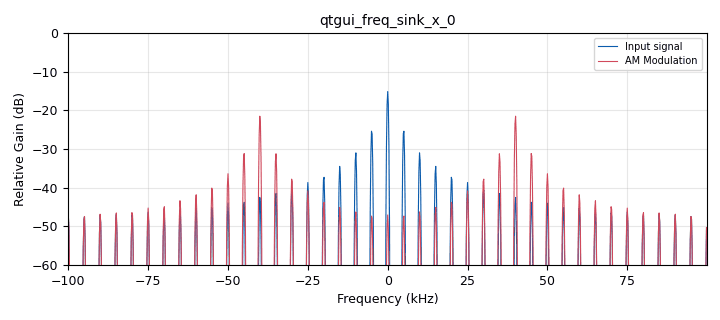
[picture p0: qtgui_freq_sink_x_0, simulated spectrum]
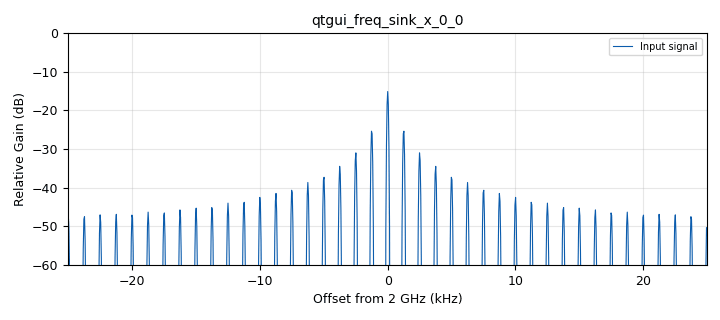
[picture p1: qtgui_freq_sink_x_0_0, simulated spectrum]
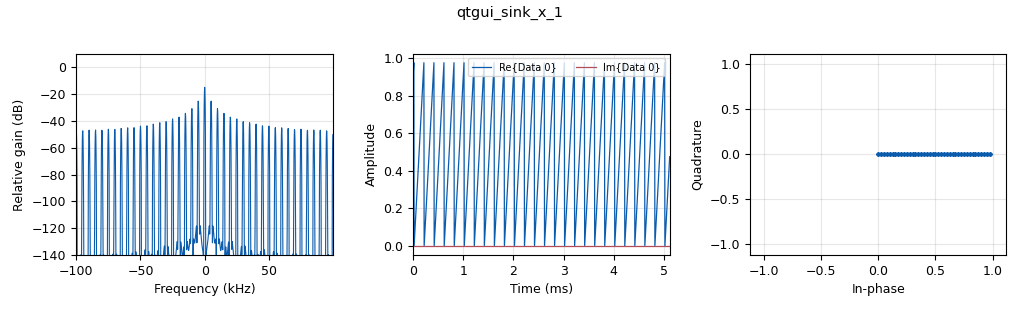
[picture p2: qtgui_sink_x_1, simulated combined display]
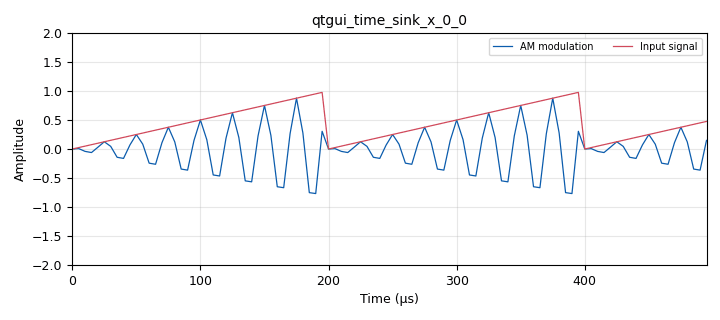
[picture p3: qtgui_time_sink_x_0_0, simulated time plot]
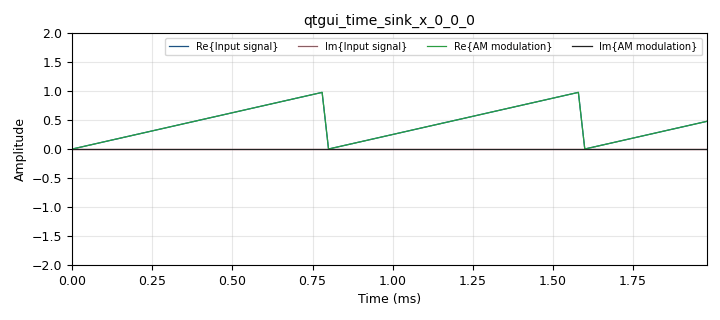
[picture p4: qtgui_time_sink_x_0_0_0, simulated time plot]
options:
  parameters:
    author: C. Seguinot
    category: Custom
    copyright: GNU GPL V3
    description: 'IQ tutorial : simple AM modulation using real blocks'
    generate_options: qt_gui
    id: IQ_tutorial_AM_TX_real
    output_language: python
    title: Amplitude modulation
  states: {}

blocks:
- name: fp
  id: variable_qtgui_range
  parameters:
    gui_hint: 1,0,1,1
    label: Carrier Frequency F0
    start: '20000'
    step: '1'
    stop: '80000'
    value: '40000'
  states: {}
- name: fp_complex
  id: variable_qtgui_range
  parameters:
    gui_hint: 1,1,1,1
    label: Carrier Frequency F0 (complex)
    start: 1e6
    step: 0.1e9
    stop: 10e9
    value: 2e9
  states: {}
- name: input_rate
  id: variable
  parameters:
    value: '5000'
  states: {}
- name: oversampling
  id: variable
  parameters:
    value: '40'
  states: {}
- name: oversampling_complex
  id: variable
  parameters:
    value: '10'
  states: {}
- name: samp_rate
  id: variable
  parameters:
    value: input_rate*oversampling
  states: {}
- name: samp_rate_complex
  id: variable
  parameters:
    value: input_rate*oversampling_complex
  states: {}
- name: analog_const_source_x_0
  id: analog_const_source_x
  parameters:
    comment: carrier (Eq. BB =1)
    const: '1'
    type: complex
  states: {}
- name: analog_const_source_x_0_0
  id: analog_const_source_x
  parameters:
    comment: q(t)=0
    const: '0'
    type: float
  states: {}
- name: analog_sig_source_x_0
  id: analog_sig_source_x
  parameters:
    amp: '1'
    freq: input_rate
    offset: '0'
    phase: '0'
    samp_rate: samp_rate
    type: float
    waveform: analog.GR_SAW_WAVE
  states: {}
- name: analog_sig_source_x_0_0
  id: analog_sig_source_x
  parameters:
    amp: '1'
    comment: i(t)
    freq: input_rate
    offset: '0'
    phase: '0'
    samp_rate: samp_rate
    type: float
    waveform: analog.GR_SAW_WAVE
  states: {}
- name: analog_sig_source_x_1_1
  id: analog_sig_source_x
  parameters:
    amp: '1'
    comment: Carrier
    freq: fp
    offset: '0'
    phase: '0'
    samp_rate: samp_rate
    type: float
    waveform: analog.GR_COS_WAVE
  states: {}
- name: analog_sig_source_x_1_1_0
  id: analog_sig_source_x
  parameters:
    amp: '1'
    comment: Carrier
    freq: '0'
    offset: '0'
    phase: '0'
    samp_rate: samp_rate
    type: complex
    waveform: analog.GR_COS_WAVE
  states: {state: disabled}
- name: blocks_float_to_complex_0
  id: blocks_float_to_complex
  parameters: {}
  states: {}
- name: blocks_multiply_xx_2
  id: blocks_multiply_xx
  parameters:
    comment: AM Modulator
    type: float
  states: {}
- name: blocks_multiply_xx_2_0
  id: blocks_multiply_xx
  parameters:
    comment: AM Modulator
    type: complex
  states: {}
- name: blocks_throttle_0
  id: blocks_throttle
  parameters:
    samples_per_second: samp_rate_complex
    type: complex
  states: {}
- name: blocks_throttle_1
  id: blocks_throttle
  parameters:
    samples_per_second: samp_rate
    type: float
  states: {}
- name: qtgui_freq_sink_x_0
  id: qtgui_freq_sink_x
  parameters:
    bw: samp_rate
    fc: '0'
    fftsize: '1024'
    gui_hint: 0,0,1,1
    label1: Input signal
    label2: AM Modulation
    nconnections: '2'
    type: float
    ymax: '0'
    ymin: '-60'
  states: {}
- name: qtgui_freq_sink_x_0_0
  id: qtgui_freq_sink_x
  parameters:
    bw: samp_rate_complex
    fc: fp_complex
    fftsize: '1024'
    gui_hint: 2,0,1,1
    label1: Input signal
    type: complex
    ymax: '0'
    ymin: '-60'
  states: {}
- name: qtgui_sink_x_1
  id: qtgui_sink_x
  parameters:
    bw: samp_rate
    fc: '0'
    fftsize: '1024'
    type: complex
  states: {}
- name: qtgui_time_sink_x_0_0
  id: qtgui_time_sink_x
  parameters:
    color1: red
    color2: blue
    ctrlpanel: 'True'
    grid: 'True'
    gui_hint: 0,1,1,1
    label1: AM modulation
    label2: Input signal
    name: ''
    nconnections: '2'
    size: '100'
    srate: samp_rate
    tr_level: '0.5'
    type: float
    update_time: '0.30'
    ymax: '2'
    ymin: '-2'
  states: {}
- name: qtgui_time_sink_x_0_0_0
  id: qtgui_time_sink_x
  parameters:
    color2: blue
    color3: red
    ctrlpanel: 'True'
    grid: 'True'
    gui_hint: 2,1,1,1
    label1: Re{Input signal}
    label2: Im{Input signal}
    label3: Re{AM modulation}
    label4: Im{AM modulation}
    name: ''
    nconnections: '2'
    size: '100'
    srate: samp_rate_complex
    tr_level: '0.5'
    type: complex
    update_time: '0.30'
    ymax: '2'
    ymin: '-2'
  states: {}
- name: uhd_usrp_sink_0
  id: uhd_usrp_sink
  parameters:
    ant0: TX/RX
    center_freq0: fp_complex
    dev_args: '""'
    gain0: '0'
    len_tag_name: ''
    samp_rate: samp_rate_complex
    sync: sync
    type: fc32
  states: {state: disabled}

connections:
- [analog_const_source_x_0, '0', blocks_multiply_xx_2_0, '1']
- [analog_const_source_x_0_0, '0', blocks_float_to_complex_0, '1']
- [analog_sig_source_x_0, '0', blocks_multiply_xx_2, '0']
- [analog_sig_source_x_0, '0', qtgui_freq_sink_x_0, '0']
- [analog_sig_source_x_0, '0', qtgui_time_sink_x_0_0, '1']
- [analog_sig_source_x_0_0, '0', blocks_float_to_complex_0, '0']
- [analog_sig_source_x_1_1, '0', blocks_multiply_xx_2, '1']
- [analog_sig_source_x_1_1_0, '0', blocks_multiply_xx_2_0, '1']
- [blocks_float_to_complex_0, '0', blocks_multiply_xx_2_0, '0']
- [blocks_float_to_complex_0, '0', qtgui_time_sink_x_0_0_0, '0']
- [blocks_multiply_xx_2, '0', blocks_throttle_1, '0']
- [blocks_multiply_xx_2_0, '0', blocks_throttle_0, '0']
- [blocks_throttle_0, '0', qtgui_freq_sink_x_0_0, '0']
- [blocks_throttle_0, '0', qtgui_sink_x_1, '0']
- [blocks_throttle_0, '0', qtgui_time_sink_x_0_0_0, '1']
- [blocks_throttle_0, '0', uhd_usrp_sink_0, '0']
- [blocks_throttle_1, '0', qtgui_freq_sink_x_0, '1']
- [blocks_throttle_1, '0', qtgui_time_sink_x_0_0, '0']

metadata:
  file_format: 1
  grc_version: 3.10.10.0
